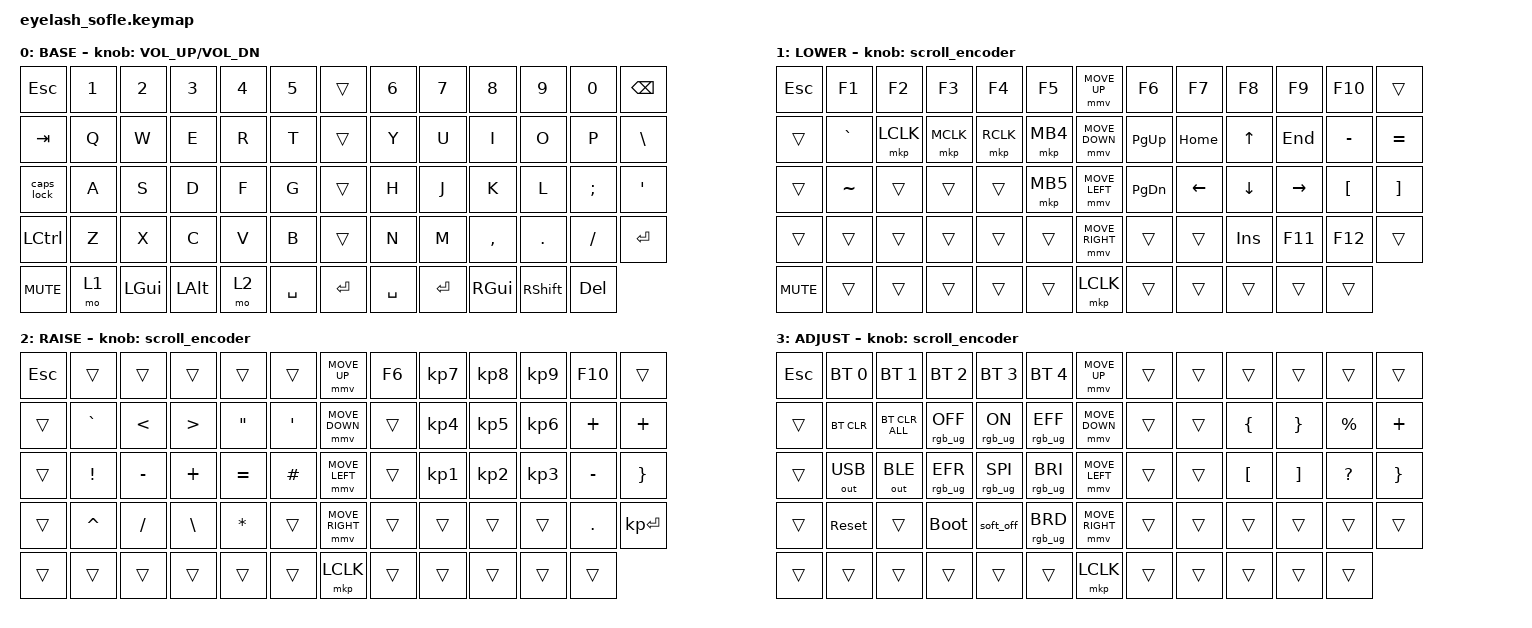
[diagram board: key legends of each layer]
#define ZMK_POINTING_DEFAULT_MOVE_VAL 1200
#define ZMK_POINTING_DEFAULT_SCRL_VAL 25

#include <behaviors.dtsi>
#include <input/processors.dtsi>
#include <zephyr/dt-bindings/input/input-event-codes.h>
#include <dt-bindings/zmk/bt.h>
#include <dt-bindings/zmk/keys.h>
#include <dt-bindings/zmk/outputs.h>
#include <dt-bindings/zmk/pointing.h>
#include <dt-bindings/zmk/rgb.h>

&mmv_input_listener { input-processors = <&zip_xy_scaler 2 1>; };

&msc_input_listener { input-processors = <&zip_scroll_scaler 2 1>; };

&msc {
    acceleration-exponent = <1>;
    time-to-max-speed-ms = <100>;
    delay-ms = <0>;
};

&mmv {
    time-to-max-speed-ms = <500>;
    acceleration-exponent = <1>;
    trigger-period-ms = <16>;
};

/ {
    scroll_encoder: scroll_encoder {
        compatible = "zmk,behavior-sensor-rotate";
        #sensor-binding-cells = <0>;
        bindings = <&msc SCRL_DOWN>, <&msc SCRL_UP>;

        tap-ms = <100>;
    };

    caps_lock: caps_lock {
        compatible = "zmk,behavior-tap-dance";
        #binding-cells = <0>;
        bindings = <&kp LSHFT>, <&caps_word>;
    };

    conditional_layers {
        compatible = "zmk,conditional-layers";

        tri_layer {
            if-layers = <1 2>;
            then-layer = <3>;
        };
    };

    keymap {
        compatible = "zmk,keymap";

        base_layer {
            bindings = <
&kp ESC           &kp N1  &kp N2        &kp N3        &kp N4  &kp N5       &trans           &kp N6     &kp N7     &kp N8     &kp N9           &kp N0      &kp BACKSPACE
&kp TAB           &kp Q   &kp W         &kp E         &kp R   &kp T        &trans           &kp Y      &kp U      &kp I      &kp O            &kp P       &kp BSLH
&caps_lock        &kp A   &kp S         &kp D         &kp F   &kp G        &trans           &kp H      &kp J      &kp K      &kp L            &kp SEMI    &kp APOS
&kp LEFT_CONTROL  &kp Z   &kp X         &kp C         &kp V   &kp B        &trans           &kp N      &kp M      &kp COMMA  &kp DOT          &kp FSLH    &kp ENTER
&kp C_MUTE        &mo 1   &kp LEFT_GUI  &kp LEFT_ALT  &mo 2   &kp SPACE    &kp ENTER        &kp SPACE  &kp ENTER  &kp RIGHT_GUI  &kp RIGHT_SHIFT  &kp DELETE
            >;

            display-name = "BASE";
            sensor-bindings = <&inc_dec_kp C_VOLUME_UP C_VOL_DN>;
        };

        lower_layer {
            bindings = <
&kp ESC     &kp F1           &kp F2          &kp F3           &kp F4           &kp F5             &mmv MOVE_UP     &kp F6           &kp F7           &kp F8      &kp F9     &kp F10           &trans
&trans      &kp GRAVE        &mkp LCLK       &mkp MCLK        &mkp RCLK        &mkp MB4           &mmv MOVE_DOWN   &kp PG_UP        &kp HOME         &kp UP      &kp END    &kp MINUS         &kp EQUAL
&trans      &kp TILDE        &trans          &trans           &trans           &mkp MB5           &mmv MOVE_LEFT   &kp PG_DN        &kp LEFT         &kp DOWN    &kp RIGHT  &kp LEFT_BRACKET  &kp RIGHT_BRACKET
&trans      &trans           &trans          &trans           &trans           &trans             &mmv MOVE_RIGHT  &trans           &trans           &kp INSERT  &kp F11    &kp F12           &trans
&kp C_MUTE  &trans           &trans          &trans           &trans           &trans             &mkp LCLK        &trans           &trans           &trans      &trans     &trans
            >;

            display-name = "LOWER";
            sensor-bindings = <&scroll_encoder>;
        };

        raise_layer {
            bindings = <
&kp ESC  &trans        &trans          &trans            &trans             &trans          &mmv MOVE_UP     &kp F6  &kp KP_NUMBER_7  &kp KP_NUMBER_8  &kp KP_NUMBER_9  &kp F10     &trans
&trans   &kp GRAVE     &kp LESS_THAN   &kp GREATER_THAN  &kp DOUBLE_QUOTES  &kp SQT         &mmv MOVE_DOWN   &trans  &kp KP_NUMBER_4  &kp KP_NUMBER_5  &kp KP_NUMBER_6  &kp PLUS    &kp PLUS
&trans   &kp EXCLAMATION &kp MINUS     &kp PLUS          &kp EQUAL          &kp HASH        &mmv MOVE_LEFT   &trans  &kp KP_NUMBER_1  &kp KP_NUMBER_2  &kp KP_NUMBER_3  &kp MINUS   &kp RBRC
&trans   &kp CARET     &kp SLASH       &kp BACKSLASH     &kp ASTERISK       &trans          &mmv MOVE_RIGHT  &trans  &trans           &trans           &trans           &kp PERIOD  &kp KP_ENTER
&trans   &trans        &trans          &trans            &trans             &trans          &mkp LCLK        &trans  &trans           &trans           &trans           &trans
            >;

            display-name = "RAISE";
            sensor-bindings = <&scroll_encoder>;
        };

        adjust_layer {
            bindings = <
&kp ESC  &bt BT_SEL 0     &bt BT_SEL 1   &bt BT_SEL 2      &bt BT_SEL 3       &bt BT_SEL 4      &mmv MOVE_UP        &trans  &trans  &trans                &trans                 &trans        &trans
&trans   &bt BT_CLR       &bt BT_CLR_ALL &rgb_ug RGB_OFF   &rgb_ug RGB_ON     &rgb_ug RGB_EFF   &mmv MOVE_DOWN      &trans  &trans  &kp LEFT_BRACE        &kp RIGHT_BRACE        &kp PERCENT   &kp PLUS
&trans   &out OUT_USB     &out OUT_BLE   &rgb_ug RGB_EFR   &rgb_ug RGB_SPI    &rgb_ug RGB_BRI   &mmv MOVE_LEFT      &trans  &trans  &kp LEFT_BRACKET      &kp RIGHT_BRACKET      &kp QUESTION  &kp RBRC
&trans   &sys_reset       &trans         &bootloader       &soft_off          &rgb_ug RGB_BRD   &mmv MOVE_RIGHT     &trans  &trans  &trans                &trans                 &trans        &trans
&trans   &trans           &trans         &trans            &trans             &trans            &mkp LCLK           &trans  &trans  &trans                &trans                 &trans
            >;

            display-name = "ADJUST";
            sensor-bindings = <&scroll_encoder>;
        };
    };
};
